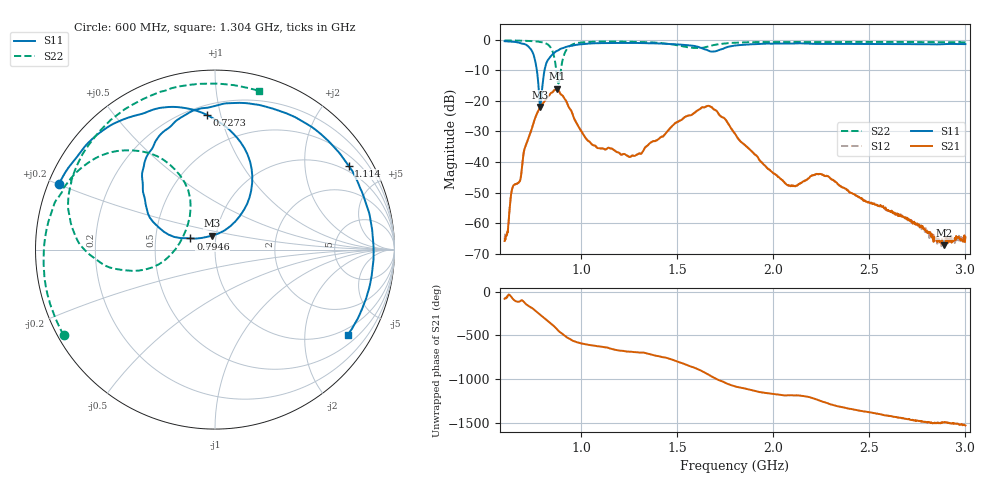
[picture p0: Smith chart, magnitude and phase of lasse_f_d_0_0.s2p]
#  HZ  S  RI  R  50.00
! Rohde & Schwarz ZVB8 2Ports - Version 2.81 - 1145.1010k08 SN: 100113
! Date: 2016-05-04 02:49:34
! Measurements: S11 S21 S12 S22
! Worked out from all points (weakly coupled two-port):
!   1000 points, 600 MHz to 3 GHz, reference 50 ohm
!   highest |S21| = -15.98 dB at 873.9 MHz (marker M1); lowest = -67.3 dB at 2.889 GHz (marker M2)
!   lowest |S11| = -22.0 dB at 785 MHz (marker M3), VSWR 1.17, Z = 47.9 + j7.54 ohm
!   |S11| at or under -10 dB: 767.8 MHz to 807.9 MHz (40.04 MHz wide, 5.08 % of centre)
!   |S22| runs from -14.3 to -0.3 dB; largest |S21 - S12| = 0.0015
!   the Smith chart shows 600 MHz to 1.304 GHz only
!   S11 on the Smith chart (normalised r, x): 600 MHz: 0.03, +0.20; 727.3 MHz: 0.26, +0.91; 794.6 MHz: 0.75, +0.10; 1.114 GHz: 0.80, +3.30; 1.304 GHz: 0.78, -3.25
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6e8  -0.8703 0.3643  6.31e-05 -0.000508  6.17e-05 -0.000538  -0.8433 -0.4785
6.408408e8  -0.7275 0.5714  0.000761 -0.00374  0.000694 -0.0037  -0.9097 -0.3267
6.768769e8  -0.5096 0.7257  -0.00204 -0.00434  -0.00196 -0.00434  -0.9456 -0.1868
7.273273e8  -0.046 0.751  -0.0256 -0.00516  -0.0254 -0.00573  -0.9512 0.0298
7.585586e8  0.2078 0.4101  -0.0422 0.0299  -0.0423 0.0292  -0.9199 0.1795
7.84985e8  -0.0152 0.0782  -0.00788 0.0778  -0.00884 0.0772  -0.8603 0.3085
7.945946e8  -0.1369 0.0622  0.0173 0.0854  0.0162 0.0853  -0.8344 0.3556
8.426426e8  -0.4022 0.3646  0.1343 -0.0157  0.1341 -0.0154  -0.4569 0.5525
8.738739e8  -0.3594 0.551  0.0542 -0.1494  0.0545 -0.1492  -0.1402 0.1865
9.075075e8  -0.2415 0.6922  -0.0796 -0.0823  -0.0789 -0.0826  -0.5255 -0.1123
1.001201e9  0.2505 0.8049  -0.0195 0.0243  -0.0196 0.0242  -0.7724 0.4614
1.114114e9  0.7449 0.4666  0.00041 0.0165  0.000355 0.0165  -0.4567 0.8089
1.303904e9  0.7408 -0.4735  0.0126 0.00577  0.0125 0.00596  0.2479 0.8824
1.4e9  0.3811 -0.7772  0.0227 -0.00592  0.0227 -0.00595  0.569 0.6844
1.659459e9  -0.4989 -0.4379  -0.0621 0.0549  -0.0625 0.0544  0.7715 0.023
1.801201e9  -0.7566 -0.2679  0.0287 0.00028  0.0286 0.000547  0.7505 -0.4782
2.077477e9  -0.4906 0.7118  -0.000698 -0.00406  -0.00067 -0.00408  -0.0574 -0.91
2.2e9  -0.0123 0.8538  -0.00385 -0.00465  -0.00383 -0.00458  -0.4092 -0.8155
2.423423e9  0.7572 0.3888  -0.000286 0.00293  -0.000379 0.00292  -0.8175 -0.4159
2.601201e9  0.7657 -0.3612  0.00139 0.000736  0.0014 0.000729  -0.9176 -0.00731
2.889489e9  -0.1872 -0.8231  0.000313 -0.0003  0.000276 -0.000363  -0.6932 0.5847
3e9  -0.5488 -0.6429  7.14e-05 -0.000581  0.000212 -0.000559  -0.5044 0.7468
